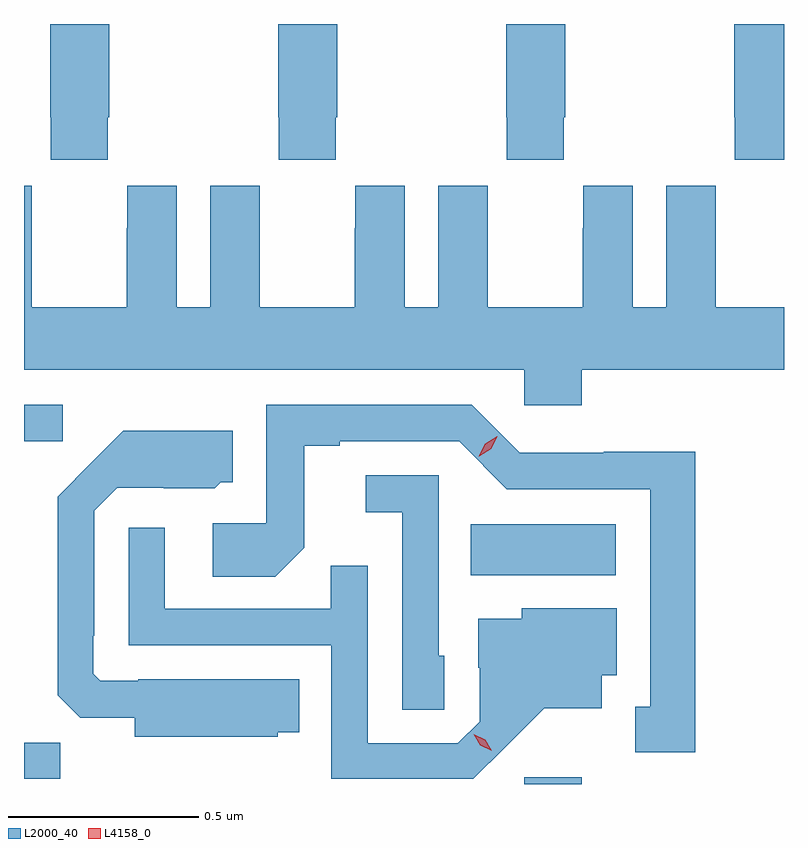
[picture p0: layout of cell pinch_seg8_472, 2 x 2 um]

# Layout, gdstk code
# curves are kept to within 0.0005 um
import gdstk
lib = gdstk.Library(unit=1e-6, precision=1e-09)
def R(c, l, rs):  # rectangles x0, y0, x1, y1
    for r in rs: c.add(gdstk.rectangle(r[:2], r[2:], *l))
def P(c, l, *ps):  # polygons
    for p in ps: c.add(gdstk.Polygon(p, *l))
L2000_40 = (2000, 40)
L4158_0 = (4158, 0)

pinch_seg8_472 = lib.new_cell('pinch_seg8_472')
R(pinch_seg8_472, L2000_40, [(134.622,1130.062,134.774,1130.08), (133.306,1130.076,133.401,1130.171), (134.482,1130.612,134.863,1130.746), (133.306,1130.964,133.408,1131.06)])
P(pinch_seg8_472, L2000_40, [(134.127,1131.817),(134.13,1131.817),(134.13,1132.062),(133.975,1132.062),(133.975,1131.817),(133.977,1131.817),(133.977,1131.705),(134.127,1131.705)],
  [(134.727,1131.817),(134.73,1131.817),(134.73,1132.062),(134.575,1132.062),(134.575,1131.817),(134.577,1131.817),(134.577,1131.705),(134.727,1131.705)],
  [(135.306,1132.062),(135.175,1132.062),(135.175,1131.817),(135.177,1131.817),(135.177,1131.705),(135.306,1131.705)],
  [(133.527,1131.817),(133.53,1131.817),(133.53,1132.062),(133.375,1132.062),(133.375,1131.817),(133.377,1131.817),(133.377,1131.705),(133.527,1131.705)],
  [(134.774,1131.152),(135.306,1131.152),(135.306,1131.316),(135.127,1131.316),(135.127,1131.524),(135.126,1131.524),(135.126,1131.637),(134.996,1131.637),(134.996,1131.316),(134.908,1131.316),(134.908,1131.637),(134.778,1131.637),(134.778,1131.524),(134.777,1131.524),(134.777,1131.316),(134.527,1131.316),(134.527,1131.524),(134.526,1131.524),(134.526,1131.637),(134.396,1131.637),(134.396,1131.316),(134.308,1131.316),(134.308,1131.637),(134.178,1131.637),(134.178,1131.524),(134.177,1131.524),(134.177,1131.316),(133.927,1131.316),(133.927,1131.524),(133.926,1131.524),(133.926,1131.637),(133.796,1131.637),(133.796,1131.316),(133.708,1131.316),(133.708,1131.637),(133.578,1131.637),(133.578,1131.524),(133.577,1131.524),(133.577,1131.316),(133.327,1131.316),(133.327,1131.524),(133.326,1131.524),(133.326,1131.637),(133.306,1131.637),(133.306,1131.152),(134.622,1131.152),(134.622,1131.059),(134.774,1131.059)],
  [(135.073,1130.936),(134.832,1130.936),(134.832,1130.934),(134.61,1130.934),(134.484,1131.06),(133.944,1131.06),(133.944,1130.748),(133.803,1130.748),(133.803,1130.608),(133.967,1130.608),(134.043,1130.684),(134.043,1130.952),(134.137,1130.952),(134.137,1130.964),(134.451,1130.964),(134.577,1130.838),(134.954,1130.838),(134.954,1130.265),(134.915,1130.265),(134.915,1130.145),(135.073,1130.145)],
  [(133.974,1130.198),(134.03,1130.198),(134.03,1130.338),(133.606,1130.338),(133.606,1130.334),(133.506,1130.334),(133.488,1130.352),(133.488,1130.452),(133.491,1130.452),(133.491,1130.781),(133.551,1130.841),(133.674,1130.841),(133.674,1130.84),(133.808,1130.84),(133.824,1130.856),(133.855,1130.856),(133.855,1130.992),(133.567,1130.992),(133.395,1130.818),(133.395,1130.296),(133.454,1130.237),(133.598,1130.237),(133.598,1130.186),(133.974,1130.186)],
  [(134.412,1130.4),(134.397,1130.4),(134.397,1130.874),(134.205,1130.874),(134.205,1130.777),(134.301,1130.777),(134.301,1130.257),(134.412,1130.257)],
  [(134.572,1130.159),(134.675,1130.261),(134.827,1130.261),(134.827,1130.348),(134.866,1130.348),(134.866,1130.524),(134.616,1130.524),(134.616,1130.497),(134.501,1130.497),(134.501,1130.368),(134.505,1130.368),(134.505,1130.226),(134.448,1130.169),(134.211,1130.169),(134.211,1130.636),(134.113,1130.636),(134.113,1130.523),(133.677,1130.523),(133.677,1130.737),(133.581,1130.737),(133.581,1130.427),(134.115,1130.427),(134.115,1130.076),(134.488,1130.076)])
P(pinch_seg8_472, L4158_0, [(134.503,1130.925),(134.503,1130.925),(134.52,1130.958),(134.552,1130.977),(134.552,1130.977),(134.552,1130.977),(134.535,1130.944),(134.504,1130.925)],
  [(134.537,1130.149),(134.506,1130.164),(134.489,1130.193),(134.489,1130.193),(134.489,1130.193),(134.52,1130.178),(134.537,1130.149),(134.537,1130.149)])

lib.write_gds('pinch_seg8_472.gds')
